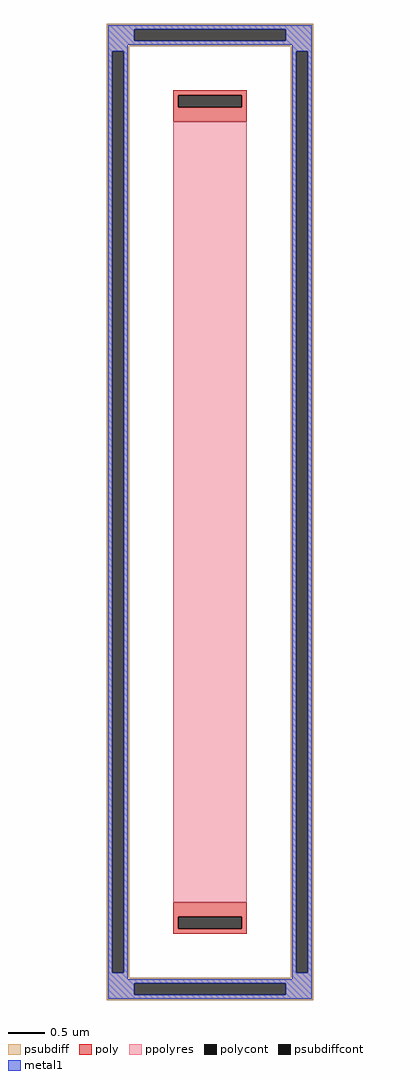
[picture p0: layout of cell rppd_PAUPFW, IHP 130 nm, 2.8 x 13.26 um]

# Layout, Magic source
magic
tech ihp-sg13g2
<< psubdiff >>
rect -140 656 140 663
rect -140 640 -103 656
rect 103 640 140 656
rect -140 633 140 640
rect -140 626 -110 633
rect -140 -626 -133 626
rect -117 -626 -110 626
rect 110 626 140 633
rect -140 -633 -110 -626
rect 110 -626 117 626
rect 133 -626 140 626
rect 110 -633 140 -626
rect -140 -640 140 -633
rect -140 -656 -103 -640
rect 103 -656 140 -640
rect -140 -663 140 -656
<< psubdiffcont >>
rect -103 640 103 656
rect -133 -626 -117 626
rect 117 -626 133 626
rect -103 -656 103 -640
<< poly >>
rect -50 566 50 573
rect -50 550 -43 566
rect 43 550 50 566
rect -50 530 50 550
rect -50 -550 50 -530
rect -50 -566 -43 -550
rect 43 -566 50 -550
rect -50 -573 50 -566
<< polycont >>
rect -43 550 43 566
rect -43 -566 43 -550
<< ppolyres >>
rect -50 -530 50 530
<< metal1 >>
rect -138 656 138 661
rect -138 640 -103 656
rect 103 640 138 656
rect -138 635 138 640
rect -138 626 -112 635
rect -138 -626 -133 626
rect -117 -626 -112 626
rect 112 626 138 635
rect -138 -635 -112 -626
rect 112 -626 117 626
rect 133 -626 138 626
rect 112 -635 138 -626
rect -138 -640 138 -635
rect -138 -656 -103 -640
rect 103 -656 138 -640
rect -138 -661 138 -656
<< properties >>
string gencell rppd
string library sg13g2_devstdin
string parameters w 1 l 10.6 nx 1 dx 0.18 ny 1 dy 0.18 wmin 0.50 lmin 0.50 class resistor endcov 0 glc 1 grc 1 gtc 1 gbc 1
<< end >>
